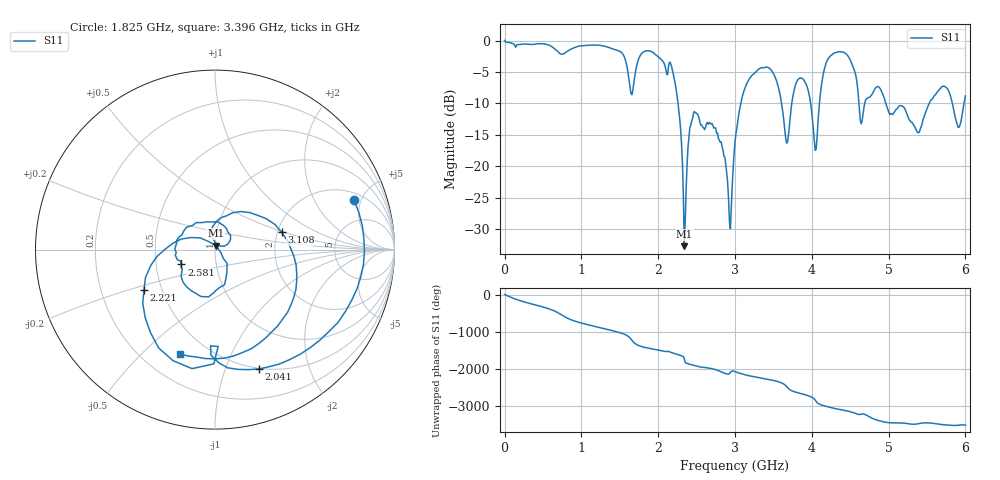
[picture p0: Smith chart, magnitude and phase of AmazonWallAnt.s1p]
# Hz S RI R 50
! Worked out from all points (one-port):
!   501 points, 1 MHz to 6 GHz, reference 50 ohm
!   lowest |S11| = -32.7 dB at 2.341 GHz (marker M1), VSWR 1.05, Z = 50.4 + j2.28 ohm
!   |S11| at or under -10 dB: 2.259 GHz to 3.077 GHz (818.1 MHz wide, 30.7 % of centre); 4.964 GHz to 5.529 GHz (564.4 MHz wide, 10.8 % of centre); 5.831 GHz to 5.982 GHz (151.4 MHz wide, 2.56 % of centre)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
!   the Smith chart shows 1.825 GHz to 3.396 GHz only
!   S11 on the Smith chart (normalised r, x): 1.825 GHz: 2.51, +4.32; 2.041 GHz: 0.49, -1.31; 2.221 GHz: 0.40, -0.22; 2.581 GHz: 0.68, -0.12; 3.108 GHz: 2.11, +0.48; 3.396 GHz: 0.35, -0.66
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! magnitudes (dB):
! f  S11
! 1 MHz  0.0
! 756.9 MHz  -2.1
! 1.501 GHz  -1.7
! 1.657 GHz  -8.6
! 1.825 GHz  -1.7
! 2.041 GHz  -3.0
! 2.221 GHz  -6.8
! 2.257 GHz  -9.8
! 2.341 GHz  -32.7
! 2.437 GHz  -12.8
! 2.581 GHz  -13.8
! 2.821 GHz  -16.2
! 2.941 GHz  -30.0
! 3.001 GHz  -16.2
! 3.108 GHz  -8.3
! 3.396 GHz  -4.2
! 3.672 GHz  -16.3
! 3.756 GHz  -8.7
! 3.912 GHz  -6.6
! 4.044 GHz  -17.5
! 4.2 GHz  -3.2
! 4.5 GHz  -3.0
! 4.644 GHz  -13.2
! 4.86 GHz  -7.3
! 5.256 GHz  -12.2
! 5.724 GHz  -7.3
! 5.916 GHz  -13.8
! 6 GHz  -8.8
